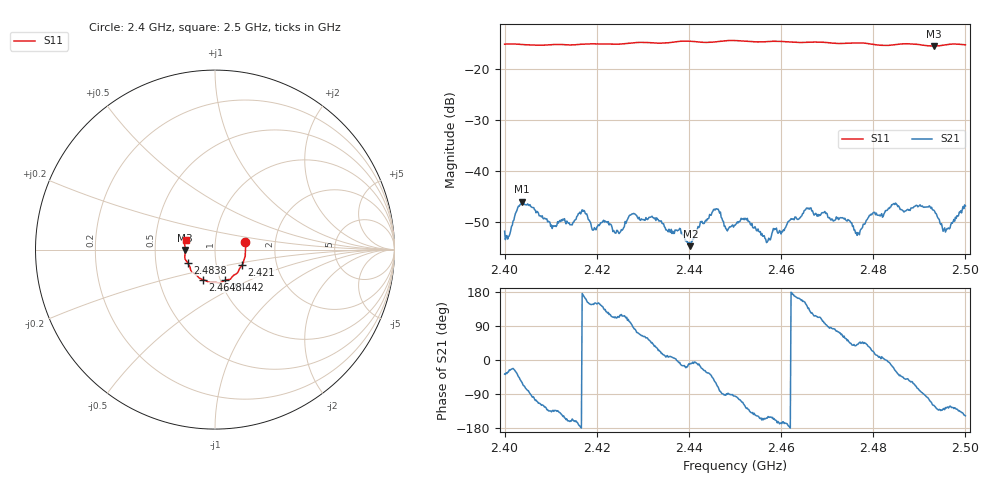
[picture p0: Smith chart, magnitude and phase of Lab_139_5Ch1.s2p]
# Hz S RI R 50
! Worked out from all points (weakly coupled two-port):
!   601 points, 2.4 GHz to 2.5 GHz, reference 50 ohm
!   highest |S21| = -46.00 dB at 2.4038 GHz (marker M1); lowest = -54.7 dB at 2.4403 GHz (marker M2)
!   lowest |S11| = -15.6 dB at 2.4932 GHz (marker M3), VSWR 1.40, Z = 35.8 - j0.0988 ohm
!   |S11| at or under -10 dB: start of sweep to end of sweep
!   S12 and S22 are empty: the file has one direction only
!   S11 on the Smith chart (normalised r, x): 2.4 GHz: 1.40, +0.12; 2.421 GHz: 1.33, -0.24; 2.4442 GHz: 1.05, -0.37; 2.4648 GHz: 0.83, -0.29; 2.4838 GHz: 0.73, -0.11; 2.5 GHz: 0.72, +0.08
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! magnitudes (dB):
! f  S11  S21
! 2.4 GHz  -15.2  -51.8
! 2.4038 GHz  -15.3  -46.0
! 2.4105 GHz  -15.3  -50.8
! 2.4167 GHz  -15.2  -48.0
! 2.4193 GHz  -15.2  -51.5
! 2.421 GHz  -15.2  -50.1
! 2.4333 GHz  -15.0  -49.5
! 2.4403 GHz  -14.7  -54.7
! 2.4442 GHz  -14.9  -49.4
! 2.446 GHz  -14.8  -47.4
! 2.4482 GHz  -14.5  -51.4
! 2.45 GHz  -14.5  -50.7
! 2.4527 GHz  -14.7  -49.3
! 2.4572 GHz  -14.7  -53.6
! 2.4648 GHz  -14.9  -48.3
! 2.4667 GHz  -14.8  -47.9
! 2.4767 GHz  -15.0  -52.1
! 2.4833 GHz  -15.5  -47.3
! 2.4838 GHz  -15.4  -47.0
! 2.4932 GHz  -15.6  -47.7
! 2.4957 GHz  -15.4  -52.0
! 2.5 GHz  -15.4  -46.9
